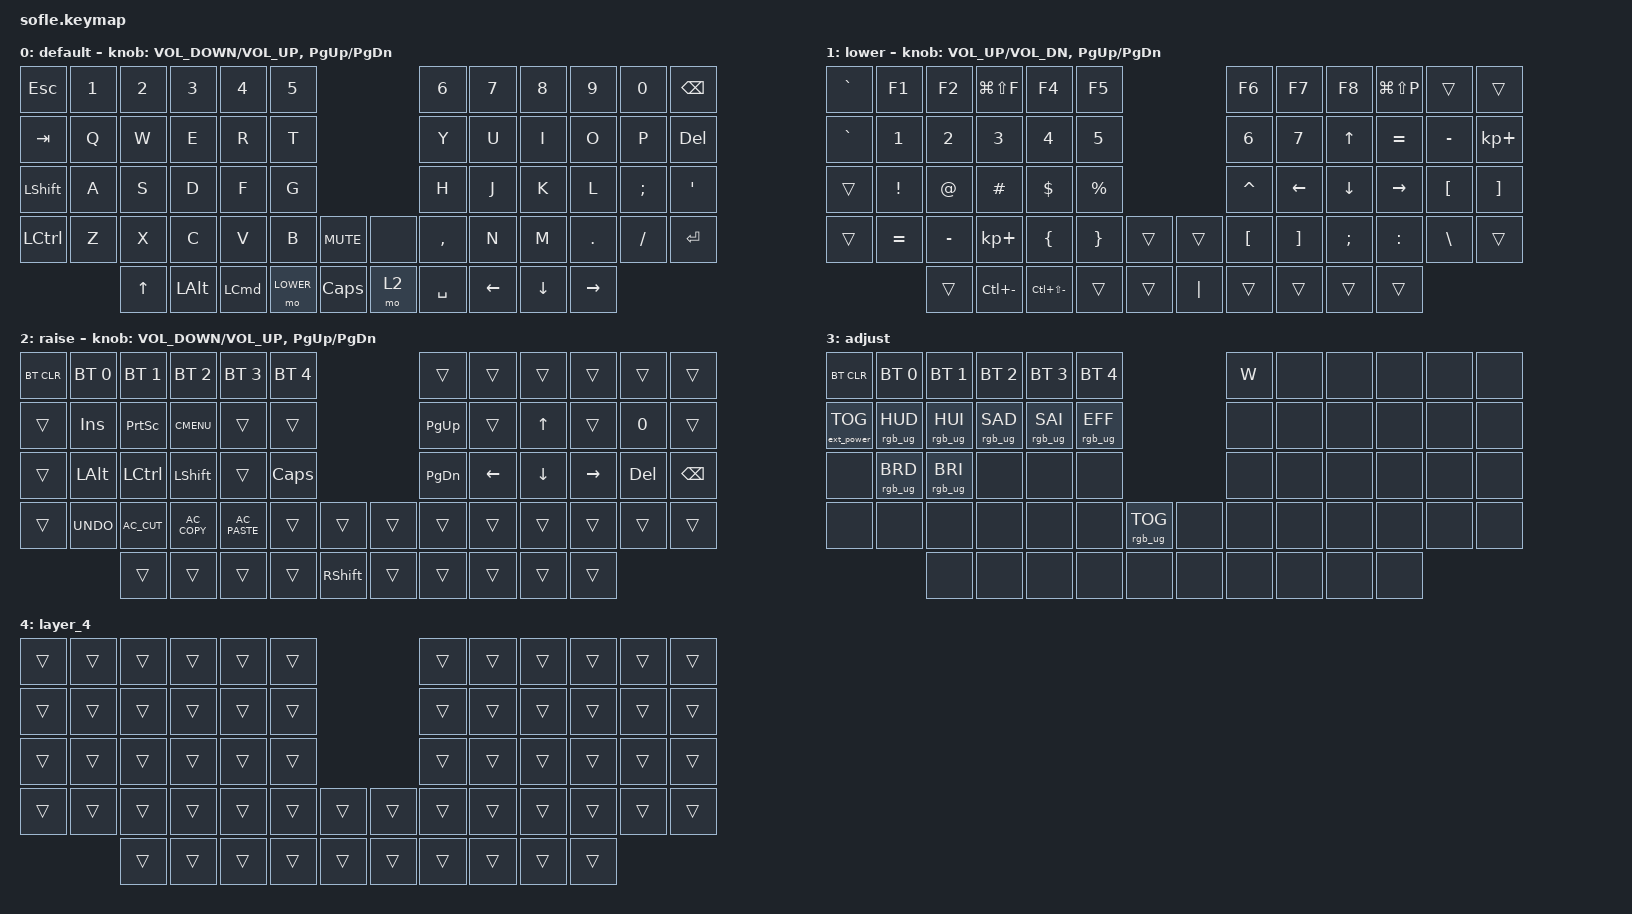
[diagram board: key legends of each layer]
/*
 * Copyright (c) 2020 The ZMK Contributors
 *
 * SPDX-License-Identifier: MIT
 */

#include <behaviors.dtsi>
#include <dt-bindings/zmk/bt.h>
#include <dt-bindings/zmk/ext_power.h>
#include <dt-bindings/zmk/keys.h>
#include <dt-bindings/zmk/rgb.h>

#define BASE 0
#define LOWER 1
#define RAISE 2
#define ADJUST 3

/ {
    // Activate ADJUST layer by pressing raise and lower

    conditional_layers {
        compatible = "zmk,conditional-layers";

        adjust_layer {
            if-layers = <LOWER RAISE>;
            then-layer = <ADJUST>;
        };
    };

    combos {
        compatible = "zmk,combos";

        Deleteline {
            bindings = <&kp LG(LS(K))>;
            key-positions = <52 24 32>;
        };

        d {
            bindings = <&kp TILDE>;
            key-positions = <36 0>;
        };
    };

    keymap {
        compatible = "zmk,keymap";

        default_layer {
            label = "default";

            // ------------------------------------------------------------------------------------------------------------
            // |   `   |  1  |  2  |  3   |  4   |  5   |                   |  6   |  7    |  8    |  9   |   0   |       |
            // |  ESC  |  Q  |  W  |  E   |  R   |  T   |                   |  Y   |  U    |  I    |  O   |   P   | BKSPC |
            // |  TAB  |  A  |  S  |  D   |  F   |  G   |                   |  H   |  J    |  K    |  L   |   ;   |   '   |
            // | SHIFT |  Z  |  X  |  C   |  V   |  B   |  MUTE  |  |       |  N   |  M    |  ,    |  .   |   /   | SHIFT |
            //               | GUI | ALT  | CTRL | LOWER|  ENTER |  | SPACE | RAISE| CTRL  | ALT   | GUI  |

            bindings = <
&kp ESC           &kp N1  &kp N2        &kp N3    &kp N4            &kp N5                            &kp N6     &kp N7          &kp N8    &kp N9     &kp N0    &kp BACKSPACE
&kp TAB           &kp Q   &kp W         &kp E     &kp R             &kp T                             &kp Y      &kp U           &kp I     &kp O      &kp P     &kp DELETE
&kp LEFT_SHIFT    &kp A   &kp S         &kp D     &kp F             &kp G                             &kp H      &kp J           &kp K     &kp L      &kp SEMI  &kp SQT
&kp LEFT_CONTROL  &kp Z   &kp X         &kp C     &kp V             &kp B      &kp C_MUTE      &none  &kp COMMA  &kp N           &kp M     &kp DOT    &kp FSLH  &kp ENTER
                          &kp UP_ARROW  &kp LALT  &kp LEFT_COMMAND  &mo LOWER  &kp CAPSLOCK    &mo 2  &kp SPACE  &kp LEFT_ARROW  &kp DOWN  &kp RIGHT
            >;

            sensor-bindings =
                <&inc_dec_kp C_VOLUME_DOWN C_VOLUME_UP>,
                <&inc_dec_kp PAGE_UP PG_DN>;
        };

        lower_layer {
            label = "lower";

            // TODO: Some binds are waiting for shifted keycode support.
            // ------------------------------------------------------------------------------------------------------------
            // |       |  F1 |  F2 |  F3  |  F4  |  F5  |                   |  F6  |  F7   |  F8   |  F9  |  F10  |  F11  |
            // |   `   |  1  |  2  |  3   |  4   |  5   |                   |  6   |  7    |  8    |  9   |   0   |  F12  |
            // |       |  !  |  @  |  #   |  $   |  %   |                   |  ^   |  &    |  *    |  (   |   )   |   |   |
            // |       |  =  |  -  |  +   |  {   |  }   |        |  |       |  [   |  ]    |  ;    |  :   |   \   |       |
            //               |     |      |      |      |        |  |       |      |       |       |      |

            bindings = <
&kp GRAVE  &kp F1     &kp F2     &kp LG(LS(F))  &kp F4             &kp F5                         &kp F6     &kp F7          &kp F8          &kp LG(LS(P))  &trans     &trans
&kp GRAVE  &kp N1     &kp N2     &kp N3         &kp N4             &kp N5                         &kp N6     &kp N7          &kp UP_ARROW    &kp EQUAL      &kp MINUS  &kp KP_PLUS
&trans     &kp EXCL   &kp AT     &kp HASH       &kp DLLR           &kp PRCNT                      &kp CARET  &kp LEFT_ARROW  &kp DOWN_ARROW  &kp RIGHT      &kp LBKT   &kp RBKT
&trans     &kp EQUAL  &kp MINUS  &kp KP_PLUS    &kp LBRC           &kp RBRC   &trans    &trans    &kp LBKT   &kp RBKT        &kp SEMI        &kp COLON      &kp BSLH   &trans
                      &trans     &kp LC(MINUS)  &kp LC(LS(MINUS))  &trans     &trans    &kp PIPE  &trans     &trans          &trans          &trans
            >;

            sensor-bindings = <&inc_dec_kp C_VOL_UP C_VOL_DN &inc_dec_kp PG_UP PG_DN>;
        };

        raise_layer {
            label = "raise";

            // ------------------------------------------------------------------------------------------------------------
            // | BTCLR | BT1  | BT2  |  BT3  |  BT4  |  BT5 |                |      |      |       |      |       |       |
            // |       | INS  | PSCR | GUI   |       |      |                | PGUP |      |   ^   |      |       |       |
            // |       | ALT  | CTRL | SHIFT |       | CAPS |                | PGDN |   <- |   v   |  ->  |  DEL  | BKSPC |
            // |       | UNDO | CUT  | COPY  | PASTE |      |      |  |      |      |      |       |      |       |       |
            //                |      |       |       |      |      |  |      |      |      |       |      |

            bindings = <
&bt BT_CLR  &bt BT_SEL 0  &bt BT_SEL 1  &bt BT_SEL 2   &bt BT_SEL 3    &bt BT_SEL 4                             &trans     &trans    &trans    &trans     &trans   &trans
&trans      &kp INS       &kp PSCRN     &kp K_CMENU    &trans          &trans                                   &kp PG_UP  &trans    &kp UP    &trans     &kp N0   &trans
&trans      &kp LALT      &kp LCTRL     &kp LSHFT      &trans          &kp CLCK                                 &kp PG_DN  &kp LEFT  &kp DOWN  &kp RIGHT  &kp DEL  &kp BSPC
&trans      &kp K_UNDO    &kp C_AC_CUT  &kp C_AC_COPY  &kp C_AC_PASTE  &trans        &trans             &trans  &trans     &trans    &trans    &trans     &trans   &trans
                          &trans        &trans         &trans          &trans        &kp RIGHT_SHIFT    &trans  &trans     &trans    &trans    &trans
            >;

            sensor-bindings =
                <&inc_dec_kp C_VOLUME_DOWN C_VOL_UP>,
                <&inc_dec_kp PG_UP PG_DN>;
        };

        adjust_layer {
            // ----------------------------------------------------------------------------------------------------------------------------
            // | BTCLR  |  BT1    |  BT2    |   BT3   |   BT4   |   BT5   |                  |      |      |       |      |       |       |
            // | EXTPWR | RGB_HUD | RGB_HUI | RGB_SAD | RGB_SAI | RGB_EFF |                  |      |      |       |      |       |       |
            // |        | RGB_BRD | RGB_BRI |         |         |         |                  |      |      |       |      |       |       |
            // |        |         |         |         |         |         | RGB_TOG | |      |      |      |       |      |       |       |
            //                    |         |         |         |         |         | |      |      |      |       |      |

            label = "adjust";
            bindings = <
&bt BT_CLR         &bt BT_SEL 0     &bt BT_SEL 1     &bt BT_SEL 2     &bt BT_SEL 3     &bt BT_SEL 4                               &kp W  &none  &none  &none  &none  &none
&ext_power EP_TOG  &rgb_ug RGB_HUD  &rgb_ug RGB_HUI  &rgb_ug RGB_SAD  &rgb_ug RGB_SAI  &rgb_ug RGB_EFF                            &none  &none  &none  &none  &none  &none
&none              &rgb_ug RGB_BRD  &rgb_ug RGB_BRI  &none            &none            &none                                      &none  &none  &none  &none  &none  &none
&none              &none            &none            &none            &none            &none            &rgb_ug RGB_TOG    &none  &none  &none  &none  &none  &none  &none
                                    &none            &none            &none            &none            &none              &none  &none  &none  &none  &none
            >;
        };

        layer_4 {
            bindings = <
&trans  &trans  &trans  &trans  &trans  &trans                    &trans  &trans  &trans  &trans  &trans  &trans
&trans  &trans  &trans  &trans  &trans  &trans                    &trans  &trans  &trans  &trans  &trans  &trans
&trans  &trans  &trans  &trans  &trans  &trans                    &trans  &trans  &trans  &trans  &trans  &trans
&trans  &trans  &trans  &trans  &trans  &trans  &trans    &trans  &trans  &trans  &trans  &trans  &trans  &trans
                &trans  &trans  &trans  &trans  &trans    &trans  &trans  &trans  &trans  &trans
            >;
        };
    };
};
